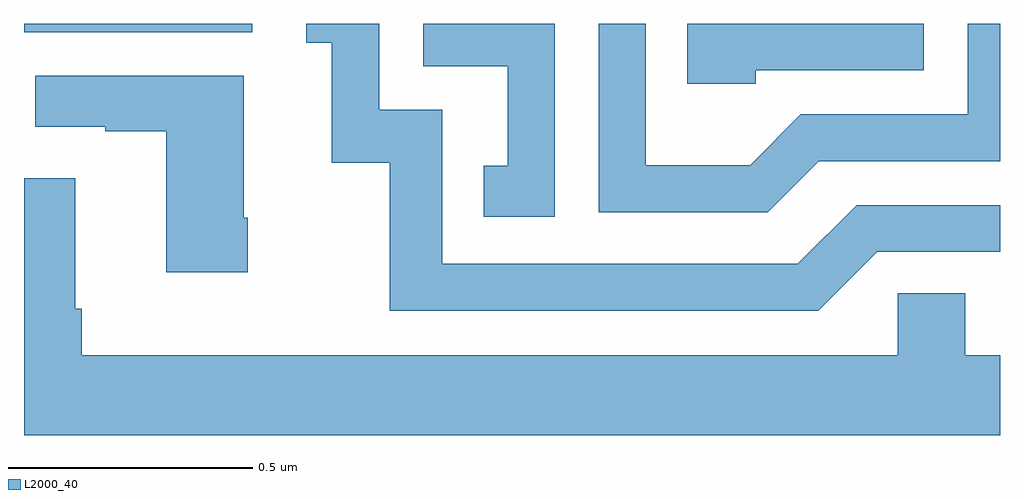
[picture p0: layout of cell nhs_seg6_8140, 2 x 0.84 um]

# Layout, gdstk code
import gdstk
lib = gdstk.Library(unit=1e-6, precision=1e-09)
def R(c, l, rs):  # rectangles x0, y0, x1, y1
    for r in rs: c.add(gdstk.rectangle(r[:2], r[2:], *l))
def P(c, l, *ps):  # polygons
    for p in ps: c.add(gdstk.Polygon(p, *l))
L2000_40 = (2000, 40)

nhs_seg6_8140 = lib.new_cell('nhs_seg6_8140')
R(nhs_seg6_8140, L2000_40, [(217,961.482,217.468,961.5)])
P(nhs_seg6_8140, L2000_40, [(218.629,961.218),(219,961.218),(219,961.5),(218.934,961.5),(218.934,961.314),(218.592,961.314),(218.488,961.21),(218.274,961.21),(218.274,961.5),(218.178,961.5),(218.178,961.113),(218.524,961.113)],
  [(218.499,961.404),(218.844,961.404),(218.844,961.5),(218.359,961.5),(218.359,961.377),(218.499,961.377)],
  [(218.088,961.5),(217.818,961.5),(217.818,961.413),(217.991,961.413),(217.991,961.209),(217.942,961.209),(217.942,961.104),(218.088,961.104)],
  [(218.748,961.032),(219,961.032),(219,961.128),(218.706,961.128),(218.586,961.008),(217.857,961.008),(217.857,961.323),(217.728,961.323),(217.728,961.5),(217.578,961.5),(217.578,961.461),(217.631,961.461),(217.631,961.215),(217.749,961.215),(217.749,960.912),(218.628,960.912)],
  [(217.458,961.102),(217.45,961.102),(217.45,961.393),(217.023,961.393),(217.023,961.289),(217.166,961.289),(217.166,961.279),(217.292,961.279),(217.292,960.99),(217.458,960.99)],
  [(219,960.82),(218.929,960.82),(218.929,960.947),(218.79,960.947),(218.79,960.82),(217.118,960.82),(217.118,960.916),(217.105,960.916),(217.105,961.183),(217,961.183),(217,960.656),(219,960.656)])

lib.write_gds('nhs_seg6_8140.gds')
